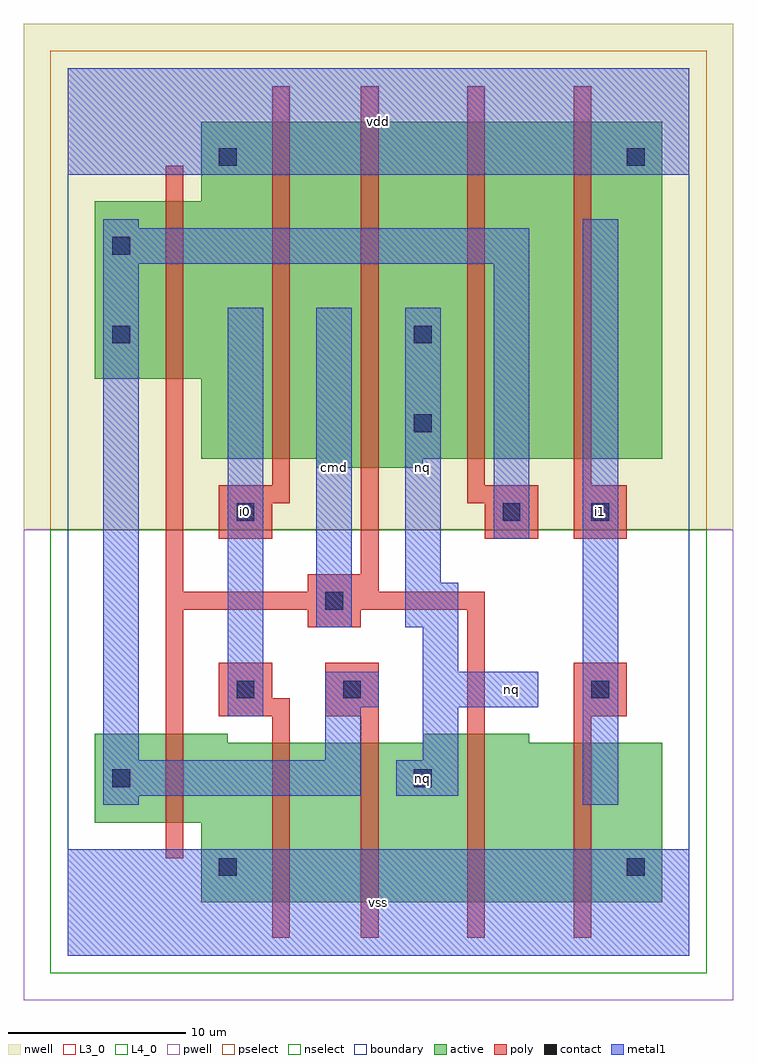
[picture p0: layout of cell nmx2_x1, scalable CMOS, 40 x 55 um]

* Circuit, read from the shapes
.subckt nmx2_x1 cmd i0 i1 nq vdd vss
M1 vss cmd n1 VSUBS nfet w=5u l=1u
M2 n2 i0 vss VSUBS nfet w=9u l=1u
M3 nq n1 n2 VSUBS nfet w=9u l=1u
M4 n3 cmd nq VSUBS nfet w=9.5u l=1u
M5 vss i1 n3 VSUBS nfet w=9u l=1u
M6 vdd cmd n1 n4 pfet w=10u l=1u
M7 n5 i0 vdd n4 pfet w=19u l=1u
M8 nq cmd n5 n4 pfet w=19.5u l=1u
M9 n6 n1 nq n4 pfet w=19u l=1u
M10 vdd i1 n6 n4 pfet w=19u l=1u
.ends

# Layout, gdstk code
import gdstk
lib = gdstk.Library(unit=1e-6, precision=1e-09)
def R(c, l, rs):  # rectangles x0, y0, x1, y1
    for r in rs: c.add(gdstk.rectangle(r[:2], r[2:], *l))
L3_0 = (3, 0)
L4_0 = (4, 0)
contact = (25, 0)
pwell = (41, 0)
nwell = (42, 0)
active = (43, 0)
pselect = (44, 0)
nselect = (45, 0)
poly = (46, 0)
metal1 = (49, 0)
boundary = (63, 0)

nmx2_x1 = lib.new_cell('nmx2_x1')
R(nmx2_x1, L3_0, [(7.5,3,33.5,7.5), (1.5,7.5,33.5,12), (1.5,12,9,12.5), (20,12,26,12.5)])
R(nmx2_x1, L4_0, [(14,27.5,20,28), (7.5,28,33.5,32.5), (1.5,32.5,33.5,42.5), (7.5,42.5,33.5,47)])
R(nmx2_x1, contact, [(8.5,4.5,9.5,5.5), (31.5,4.5,32.5,5.5), (2.5,9.5,3.5,10.5), (19.5,9.5,20.5,10.5), (9.5,14.5,10.5,15.5), (15.5,14.5,16.5,15.5), (29.5,14.5,30.5,15.5), (14.5,19.5,15.5,20.5), (9.5,24.5,10.5,25.5), (24.5,24.5,25.5,25.5), (29.5,24.5,30.5,25.5), (19.5,29.5,20.5,30.5), (2.5,34.5,3.5,35.5), (19.5,34.5,20.5,35.5), (2.5,39.5,3.5,40.5), (8.5,44.5,9.5,45.5), (31.5,44.5,32.5,45.5)])
R(nmx2_x1, pwell, [(-2.5,-2.5,37.5,24)])
R(nmx2_x1, nwell, [(-2.5,24,37.5,52.5)])
R(nmx2_x1, active, [(7.5,3,33.5,7.5), (1.5,7.5,33.5,12), (1.5,12,9,12.5), (20,12,26,12.5), (14,27.5,20,28), (7.5,28,33.5,32.5), (1.5,32.5,33.5,42.5), (7.5,42.5,33.5,47)])
R(nmx2_x1, pselect, [(-1,24,36,51)])
R(nmx2_x1, nselect, [(-1,-1,36,24)])
R(nmx2_x1, poly, [(11.5,1,12.5,13.5), (16.5,1,17.5,13.5), (22.5,1,23.5,19.5), (28.5,1,29.5,13.5), (5.5,5.5,6.5,19.5), (8.5,13.5,12.5,14.5), (14.5,13.5,17.5,16.5), (28.5,13.5,31.5,16.5), (8.5,14.5,11.5,16.5), (13.5,18.5,16.5,19.5), (5.5,19.5,23.5,20.5), (5.5,20.5,6.5,44.5), (13.5,20.5,17.5,21.5), (16.5,21.5,17.5,49), (8.5,23.5,11.5,25.5), (23.5,23.5,26.5,25.5), (28.5,23.5,31.5,26.5), (8.5,25.5,12.5,26.5), (22.5,25.5,26.5,26.5), (11.5,26.5,12.5,49), (22.5,26.5,23.5,49), (28.5,26.5,29.5,49)])
R(nmx2_x1, metal1, [(0,0,35,6), (0,0,35,6), (2,8.5,4,9), (2,8.5,4,9), (29,8.5,31,41.5), (29,8.5,31,41.5), (2,9,16.5,11), (2,9,16.5,11), (18.5,9,22,11), (18.5,9,22,11), (2,11,4,39), (2,11,4,39), (14.5,11,16.5,14), (14.5,11,16.5,14), (20,11,22,14), (20,11,22,14), (9,13.5,11,36.5), (9,13.5,11,36.5), (14.5,14,17.5,16), (14.5,14,17.5,16), (20,14,26.5,16), (20,14,26.5,16), (20,16,22,18.5), (20,16,22,18.5), (14,18.5,16,36.5), (14,18.5,16,36.5), (19,18.5,22,21), (19,18.5,22,21), (19,21,21,36.5), (19,21,21,36.5), (24,23.5,26,39), (24,23.5,26,39), (2,39,26,41), (2,39,26,41), (2,41,4,41.5), (2,41,4,41.5), (0,44,35,50), (0,44,35,50)])
R(nmx2_x1, boundary, [(0,0,35,50)])
nmx2_x1.add(gdstk.Label('i0', (10,25), layer=49, texttype=0))
nmx2_x1.add(gdstk.Label('cmd', (15,27.5), layer=49, texttype=0))
nmx2_x1.add(gdstk.Label('vss', (17.5,3), layer=49, texttype=0))
nmx2_x1.add(gdstk.Label('nq', (20,10), layer=49, texttype=0))
nmx2_x1.add(gdstk.Label('nq', (25,15), layer=49, texttype=0))
nmx2_x1.add(gdstk.Label('nq', (20,27.5), layer=49, texttype=0))
nmx2_x1.add(gdstk.Label('vdd', (17.5,47), layer=49, texttype=0))
nmx2_x1.add(gdstk.Label('i1', (30,25), layer=49, texttype=0))

lib.write_gds('nmx2_x1.gds')
